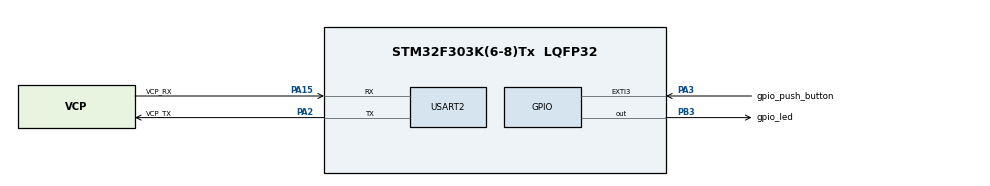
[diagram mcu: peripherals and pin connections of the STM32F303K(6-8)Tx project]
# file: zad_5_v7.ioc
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Mcu.Family=STM32F3
Mcu.Name=STM32F303K(6-8)Tx
Mcu.Package=LQFP32
NVIC.EXTI3_IRQn=true\:0\:0\:false\:false\:true\:true\:true
NVIC.PriorityGroup=NVIC_PRIORITYGROUP_4
PA13.GPIO_Label=SWDIO
PA13.Mode=Serial_Wire
PA13.Signal=SYS_JTMS-SWDIO
PA14.GPIO_Label=SWCLK
PA14.Mode=Serial_Wire
PA14.Signal=SYS_JTCK-SWCLK
PA15.GPIO_Label=VCP_RX
PA15.Mode=Asynchronous
PA15.Signal=USART2_RX
PA2.GPIO_Label=VCP_TX
PA2.Mode=Asynchronous
PA2.Signal=USART2_TX
PA3.GPIO_Label=gpio_push_button
PA3.GPIO_PuPd=GPIO_PULLUP
PA3.Signal=GPXTI3
PB3.GPIO_Label=gpio_led
PB3.Signal=GPIO_Output
PF0\ /\ OSC_IN.GPIO_Label=MCO
PF0\ /\ OSC_IN.Mode=HSE-External-Clock-Source
PF0\ /\ OSC_IN.Signal=RCC_OSC_IN
ProjectManager.HeapSize=0x200
ProjectManager.StackSize=0x400
ProjectManager.TargetToolchain=STM32CubeIDE
RCC.AHBFreq_Value=8000000
RCC.APB1Freq_Value=8000000
RCC.APB2Freq_Value=8000000
RCC.CortexFreq_Value=8000000
RCC.HSE_VALUE=8000000
RCC.HSI_VALUE=8000000
RCC.SYSCLKFreq_VALUE=8000000
USART2.VirtualMode-Asynchronous=VM_ASYNC
board=NUCLEO-F303K8

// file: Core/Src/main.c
/* USER CODE BEGIN Header */
/**
  ******************************************************************************
  * @file           : main.c
  * @brief          : Main program body
  ******************************************************************************
  * @attention
  *
  * <h2><center>&copy; Copyright (c) 2020 STMicroelectronics.
  * All rights reserved.</center></h2>
  *
  * This software component is licensed by ST under BSD 3-Clause license,
  * the "License"; You may not use this file except in compliance with the
  * License. You may obtain a copy of the License at:
  *                        opensource.org/licenses/BSD-3-Clause
  *
  ******************************************************************************
  */
/* USER CODE END Header */
#include "main.h"

/* USER CODE BEGIN PTD */
#define		TRIGGER_RISE					0
#define		TRIGGER_FALL					1

#define		BUTTON_EXTI_TRIGGER				TRIGGER_RISE
#define		BUTTON_EXTI_SAMPLES_WINDOW		15
#define		BUTTON_EXTI_SAMPLES_REQUIRED	10
/* USER CODE END PTD */

/* USER CODE BEGIN PV */
uint8_t mode=0;
/* USER CODE END PV */

void SystemClock_Config(void);
static void MX_GPIO_Init(void);
static void MX_USART2_UART_Init(void);
/* USER CODE BEGIN PFP */
uint8_t checkButtonState(GPIO_TypeDef* PORT, uint16_t PIN, uint8_t edge, uint8_t samples_window, uint8_t samples_required);
/* USER CODE END PFP */

int main(void)
{
  /* USER CODE BEGIN 1 */
uint16_t cnt=0;
  /* USER CODE END 1 */

  /* MCU Configuration--------------------------------------------------------*/

  /* Reset of all peripherals, Initializes the Flash interface and the Systick. */

  LL_APB2_GRP1_EnableClock(LL_APB2_GRP1_PERIPH_SYSCFG);
  LL_APB1_GRP1_EnableClock(LL_APB1_GRP1_PERIPH_PWR);

  NVIC_SetPriorityGrouping(NVIC_PRIORITYGROUP_4);

  /* System interrupt init*/

  /* Configure the system clock */
  SystemClock_Config();

  /* Initialize all configured peripherals */
  MX_GPIO_Init();
  MX_USART2_UART_Init();

  /* Infinite loop */
  /* USER CODE BEGIN WHILE */
  while (1)
  {
	  if (mode & 1)
	  {
		  cnt=checkButtonState(gpio_push_button_GPIO_Port, gpio_push_button_Pin, BUTTON_EXTI_TRIGGER, BUTTON_EXTI_SAMPLES_WINDOW, BUTTON_EXTI_SAMPLES_REQUIRED);
		  if(cnt )
		  	 {if ((gpio_led_GPIO_Port->ODR) & gpio_led_Pin)
		  	  {gpio_led_GPIO_Port->ODR &= ~(gpio_led_Pin);}
		  	  else
		  	  {gpio_led_GPIO_Port->ODR |= gpio_led_Pin;}
		  }
		  mode &=~( 1 );
	  }
    /* USER CODE END WHILE */

  }
}

void SystemClock_Config(void)
{
  LL_FLASH_SetLatency(LL_FLASH_LATENCY_0);
  while(LL_FLASH_GetLatency()!= LL_FLASH_LATENCY_0)
  {
  }
  LL_RCC_HSI_Enable();

   /* Wait till HSI is ready */
  while(LL_RCC_HSI_IsReady() != 1)
  {

  }
  LL_RCC_HSI_SetCalibTrimming(16);
  LL_RCC_SetAHBPrescaler(LL_RCC_SYSCLK_DIV_1);
  LL_RCC_SetAPB1Prescaler(LL_RCC_APB1_DIV_1);
  LL_RCC_SetAPB2Prescaler(LL_RCC_APB1_DIV_1);
  LL_RCC_SetSysClkSource(LL_RCC_SYS_CLKSOURCE_HSI);

   /* Wait till System clock is ready */
  while(LL_RCC_GetSysClkSource() != LL_RCC_SYS_CLKSOURCE_STATUS_HSI)
  {

  }
  LL_Init1msTick(8000000);
  LL_SetSystemCoreClock(8000000);
}

static void MX_USART2_UART_Init(void)
{

  LL_USART_InitTypeDef USART_InitStruct = {0};

  LL_GPIO_InitTypeDef GPIO_InitStruct = {0};

  /* Peripheral clock enable */
  LL_APB1_GRP1_EnableClock(LL_APB1_GRP1_PERIPH_USART2);

  LL_AHB1_GRP1_EnableClock(LL_AHB1_GRP1_PERIPH_GPIOA);
  /**USART2 GPIO Configuration
  PA2   ------> USART2_TX
  PA15   ------> USART2_RX
  */
  GPIO_InitStruct.Pin = VCP_TX_Pin|VCP_RX_Pin;
  GPIO_InitStruct.Mode = LL_GPIO_MODE_ALTERNATE;
  GPIO_InitStruct.Speed = LL_GPIO_SPEED_FREQ_HIGH;
  GPIO_InitStruct.OutputType = LL_GPIO_OUTPUT_PUSHPULL;
  GPIO_InitStruct.Pull = LL_GPIO_PULL_NO;
  GPIO_InitStruct.Alternate = LL_GPIO_AF_7;
  LL_GPIO_Init(GPIOA, &GPIO_InitStruct);

  USART_InitStruct.BaudRate = 38400;
  USART_InitStruct.DataWidth = LL_USART_DATAWIDTH_8B;
  USART_InitStruct.StopBits = LL_USART_STOPBITS_1;
  USART_InitStruct.Parity = LL_USART_PARITY_NONE;
  USART_InitStruct.TransferDirection = LL_USART_DIRECTION_TX_RX;
  USART_InitStruct.HardwareFlowControl = LL_USART_HWCONTROL_NONE;
  USART_InitStruct.OverSampling = LL_USART_OVERSAMPLING_16;
  LL_USART_Init(USART2, &USART_InitStruct);
  LL_USART_DisableIT_CTS(USART2);
  LL_USART_ConfigAsyncMode(USART2);
  LL_USART_Enable(USART2);

}

static void MX_GPIO_Init(void)
{
  LL_EXTI_InitTypeDef EXTI_InitStruct = {0};
  LL_GPIO_InitTypeDef GPIO_InitStruct = {0};

  /* GPIO Ports Clock Enable */
  LL_AHB1_GRP1_EnableClock(LL_AHB1_GRP1_PERIPH_GPIOF);
  LL_AHB1_GRP1_EnableClock(LL_AHB1_GRP1_PERIPH_GPIOA);
  LL_AHB1_GRP1_EnableClock(LL_AHB1_GRP1_PERIPH_GPIOB);

  /**/
  LL_GPIO_ResetOutputPin(gpio_led_GPIO_Port, gpio_led_Pin);

  /**/
  LL_SYSCFG_SetEXTISource(LL_SYSCFG_EXTI_PORTA, LL_SYSCFG_EXTI_LINE3);

  /**/
  LL_GPIO_SetPinPull(gpio_push_button_GPIO_Port, gpio_push_button_Pin, LL_GPIO_PULL_UP);

  /**/
  LL_GPIO_SetPinMode(gpio_push_button_GPIO_Port, gpio_push_button_Pin, LL_GPIO_MODE_INPUT);

  /**/
  EXTI_InitStruct.Line_0_31 = LL_EXTI_LINE_3;
  EXTI_InitStruct.Line_32_63 = LL_EXTI_LINE_NONE;
  EXTI_InitStruct.LineCommand = ENABLE;
  EXTI_InitStruct.Mode = LL_EXTI_MODE_IT;
  if(BUTTON_EXTI_TRIGGER)
  {EXTI_InitStruct.Trigger = LL_EXTI_TRIGGER_FALLING;}
  else
  {EXTI_InitStruct.Trigger = LL_EXTI_TRIGGER_RISING;}
  LL_EXTI_Init(&EXTI_InitStruct);

  /**/
  GPIO_InitStruct.Pin = gpio_led_Pin;
  GPIO_InitStruct.Mode = LL_GPIO_MODE_OUTPUT;
  GPIO_InitStruct.Speed = LL_GPIO_SPEED_FREQ_LOW;
  GPIO_InitStruct.OutputType = LL_GPIO_OUTPUT_PUSHPULL;
  GPIO_InitStruct.Pull = LL_GPIO_PULL_NO;
  LL_GPIO_Init(gpio_led_GPIO_Port, &GPIO_InitStruct);

  /* EXTI interrupt init*/
  NVIC_SetPriority(EXTI3_IRQn, NVIC_EncodePriority(NVIC_GetPriorityGrouping(),0, 0));
  NVIC_EnableIRQ(EXTI3_IRQn);

}

/* USER CODE BEGIN 4 */
uint8_t checkButtonState(GPIO_TypeDef* PORT, uint16_t PIN, uint8_t edge, uint8_t samples_window, uint8_t samples_required)
{
	  //type your code for "checkButtonState" implementation here:
	uint8_t num_of_samples,good_states=0;
	uint32_t state;
	for (num_of_samples=0;num_of_samples<samples_window;num_of_samples++){
		state= PORT->IDR & ( PIN);
		if ( ( ( state > 0 ) && ( edge==TRIGGER_RISE ) ) || ( ( state==0x0 ) && ( edge==TRIGGER_FALL ) ) )
			{good_states++;
			if (good_states >= samples_required)
				return (0xff);
			}

		}
	return (0);
}
/* USER CODE END 4 */

void Error_Handler(void)
{
}

/************************ (C) COPYRIGHT STMicroelectronics *****END OF FILE****/
